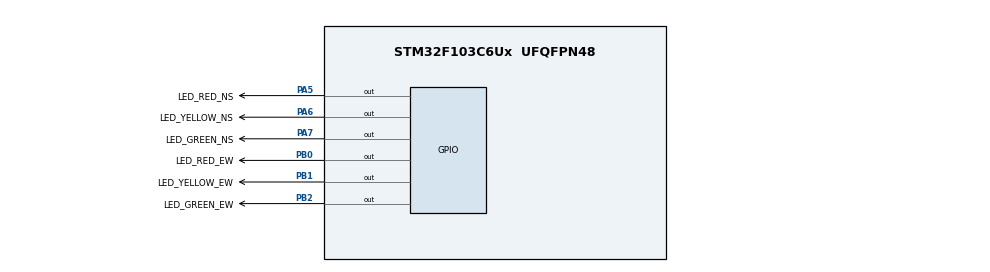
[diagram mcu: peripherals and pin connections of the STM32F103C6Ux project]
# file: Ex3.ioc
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Mcu.Family=STM32F1
Mcu.Name=STM32F103C6Ux
Mcu.Package=UFQFPN48
NVIC.PriorityGroup=NVIC_PRIORITYGROUP_4
PA5.GPIO_Label=LED_RED_NS
PA5.Signal=GPIO_Output
PA6.GPIO_Label=LED_YELLOW_NS
PA6.Signal=GPIO_Output
PA7.GPIO_Label=LED_GREEN_NS
PA7.Signal=GPIO_Output
PB0.GPIO_Label=LED_RED_EW
PB0.Signal=GPIO_Output
PB1.GPIO_Label=LED_YELLOW_EW
PB1.Signal=GPIO_Output
PB2.GPIO_Label=LED_GREEN_EW
PB2.Signal=GPIO_Output
ProjectManager.HeapSize=0x200
ProjectManager.StackSize=0x400
ProjectManager.TargetToolchain=STM32CubeIDE
RCC.APB1Freq_Value=8000000
RCC.APB2Freq_Value=8000000
VP_SYS_VS_ND.Mode=No_Debug
board=custom

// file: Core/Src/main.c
/* USER CODE BEGIN Header */
/**
  ******************************************************************************
  * @file           : main.c
  * @brief          : Main program body
  ******************************************************************************
  * @attention
  *
  * <h2><center>&copy; Copyright (c) 2026 STMicroelectronics.
  * All rights reserved.</center></h2>
  *
  * This software component is licensed by ST under BSD 3-Clause license,
  * the "License"; You may not use this file except in compliance with the
  * License. You may obtain a copy of the License at:
  *                        opensource.org/licenses/BSD-3-Clause
  *
  ******************************************************************************
  */
/* USER CODE END Header */
#include "main.h"

void SystemClock_Config(void);
static void MX_GPIO_Init(void);

int main(void)
{

  /* MCU Configuration--------------------------------------------------------*/

  /* Reset of all peripherals, Initializes the Flash interface and the Systick. */
  HAL_Init();

  /* Configure the system clock */
  SystemClock_Config();

  /* Initialize all configured peripherals */
  MX_GPIO_Init();
  /* USER CODE BEGIN 2 */
  uint32_t counter = 0;
  /* USER CODE END 2 */

  /* Infinite loop */
  /* USER CODE BEGIN WHILE */
  while (1)
  {
	  // Pha 1: 3s Bắc-Nam ĐỎ, 3s Đông-Tây XANH
	  if (0 <= counter && counter <= 2)
	  {
		  // Bắc-Nam (NS) RED ON
		  HAL_GPIO_WritePin(LED_RED_NS_GPIO_Port, LED_RED_NS_Pin, GPIO_PIN_RESET);
		  HAL_GPIO_WritePin(LED_YELLOW_NS_GPIO_Port, LED_YELLOW_NS_Pin, GPIO_PIN_SET);
		  HAL_GPIO_WritePin(LED_GREEN_NS_GPIO_Port, LED_GREEN_NS_Pin, GPIO_PIN_SET);

		  // Đông-Tây (EW) GREEN ON
		  HAL_GPIO_WritePin(LED_RED_EW_GPIO_Port, LED_RED_EW_Pin, GPIO_PIN_SET);
		  HAL_GPIO_WritePin(LED_YELLOW_EW_GPIO_Port, LED_YELLOW_EW_Pin, GPIO_PIN_SET);
		  HAL_GPIO_WritePin(LED_GREEN_EW_GPIO_Port, LED_GREEN_EW_Pin, GPIO_PIN_RESET);
	  }

	  // Pha 2: 2s Bắc-Nam ĐỎ, 2s Đông-Tây VÀNG
	  if (3 <= counter && counter <= 4)
	  {
		  HAL_GPIO_WritePin(LED_RED_EW_GPIO_Port, LED_RED_EW_Pin, GPIO_PIN_SET);
		  HAL_GPIO_WritePin(LED_YELLOW_EW_GPIO_Port, LED_YELLOW_EW_Pin, GPIO_PIN_RESET);
		  HAL_GPIO_WritePin(LED_GREEN_EW_GPIO_Port, LED_GREEN_EW_Pin, GPIO_PIN_SET);
	  }

	  // Pha 3: 3s Bắc-Nam XANH, 3s Đông-Tây ĐỎ
	  if (5 <= counter && counter <= 7)
	  {
		  HAL_GPIO_WritePin(LED_RED_NS_GPIO_Port, LED_RED_NS_Pin, GPIO_PIN_SET);
		  HAL_GPIO_WritePin(LED_YELLOW_NS_GPIO_Port, LED_YELLOW_NS_Pin, GPIO_PIN_SET);
		  HAL_GPIO_WritePin(LED_GREEN_NS_GPIO_Port, LED_GREEN_NS_Pin, GPIO_PIN_RESET);

		  HAL_GPIO_WritePin(LED_RED_EW_GPIO_Port, LED_RED_EW_Pin, GPIO_PIN_RESET);
		  HAL_GPIO_WritePin(LED_YELLOW_EW_GPIO_Port, LED_YELLOW_EW_Pin, GPIO_PIN_SET);
		  HAL_GPIO_WritePin(LED_GREEN_EW_GPIO_Port, LED_GREEN_EW_Pin, GPIO_PIN_SET);
	  }

	  // Pha 4: 2s Bắc-Nam VÀNG, 2s Đông-Tây ĐỎ
	  if (8 <= counter && counter <= 9)
	  {
		  HAL_GPIO_WritePin(LED_RED_NS_GPIO_Port, LED_RED_NS_Pin, GPIO_PIN_SET);
		  HAL_GPIO_WritePin(LED_YELLOW_NS_GPIO_Port, LED_YELLOW_NS_Pin, GPIO_PIN_RESET);
		  HAL_GPIO_WritePin(LED_GREEN_NS_GPIO_Port, LED_GREEN_NS_Pin, GPIO_PIN_SET);
	  }

	  if (counter >= 9)
	  {
		  counter = 0;
	  }
	  else
	  {
		  counter++;
	  }

	  HAL_Delay(1000);
    /* USER CODE END WHILE */

  }
}

void SystemClock_Config(void)
{
  RCC_OscInitTypeDef RCC_OscInitStruct = {0};
  RCC_ClkInitTypeDef RCC_ClkInitStruct = {0};

  /** Initializes the RCC Oscillators according to the specified parameters
  * in the RCC_OscInitTypeDef structure.
  */
  RCC_OscInitStruct.OscillatorType = RCC_OSCILLATORTYPE_HSI;
  RCC_OscInitStruct.HSIState = RCC_HSI_ON;
  RCC_OscInitStruct.HSICalibrationValue = RCC_HSICALIBRATION_DEFAULT;
  RCC_OscInitStruct.PLL.PLLState = RCC_PLL_NONE;
  if (HAL_RCC_OscConfig(&RCC_OscInitStruct) != HAL_OK)
  {
    Error_Handler();
  }
  /** Initializes the CPU, AHB and APB buses clocks
  */
  RCC_ClkInitStruct.ClockType = RCC_CLOCKTYPE_HCLK|RCC_CLOCKTYPE_SYSCLK
                              |RCC_CLOCKTYPE_PCLK1|RCC_CLOCKTYPE_PCLK2;
  RCC_ClkInitStruct.SYSCLKSource = RCC_SYSCLKSOURCE_HSI;
  RCC_ClkInitStruct.AHBCLKDivider = RCC_SYSCLK_DIV1;
  RCC_ClkInitStruct.APB1CLKDivider = RCC_HCLK_DIV1;
  RCC_ClkInitStruct.APB2CLKDivider = RCC_HCLK_DIV1;

  if (HAL_RCC_ClockConfig(&RCC_ClkInitStruct, FLASH_LATENCY_0) != HAL_OK)
  {
    Error_Handler();
  }
}

static void MX_GPIO_Init(void)
{
  GPIO_InitTypeDef GPIO_InitStruct = {0};

  /* GPIO Ports Clock Enable */
  __HAL_RCC_GPIOA_CLK_ENABLE();
  __HAL_RCC_GPIOB_CLK_ENABLE();

  /*Configure GPIO pin Output Level */
  HAL_GPIO_WritePin(GPIOA, LED_RED_NS_Pin|LED_YELLOW_NS_Pin|LED_GREEN_NS_Pin, GPIO_PIN_RESET);

  /*Configure GPIO pin Output Level */
  HAL_GPIO_WritePin(GPIOB, LED_RED_EW_Pin|LED_YELLOW_EW_Pin|LED_GREEN_EW_Pin, GPIO_PIN_RESET);

  /*Configure GPIO pins : LED_RED_NS_Pin LED_YELLOW_NS_Pin LED_GREEN_NS_Pin */
  GPIO_InitStruct.Pin = LED_RED_NS_Pin|LED_YELLOW_NS_Pin|LED_GREEN_NS_Pin;
  GPIO_InitStruct.Mode = GPIO_MODE_OUTPUT_PP;
  GPIO_InitStruct.Pull = GPIO_NOPULL;
  GPIO_InitStruct.Speed = GPIO_SPEED_FREQ_LOW;
  HAL_GPIO_Init(GPIOA, &GPIO_InitStruct);

  /*Configure GPIO pins : LED_RED_EW_Pin LED_YELLOW_EW_Pin LED_GREEN_EW_Pin */
  GPIO_InitStruct.Pin = LED_RED_EW_Pin|LED_YELLOW_EW_Pin|LED_GREEN_EW_Pin;
  GPIO_InitStruct.Mode = GPIO_MODE_OUTPUT_PP;
  GPIO_InitStruct.Pull = GPIO_NOPULL;
  GPIO_InitStruct.Speed = GPIO_SPEED_FREQ_LOW;
  HAL_GPIO_Init(GPIOB, &GPIO_InitStruct);

}

void Error_Handler(void)
{
  __disable_irq();
  while (1)
  {
  }
}

/************************ (C) COPYRIGHT STMicroelectronics *****END OF FILE****/
